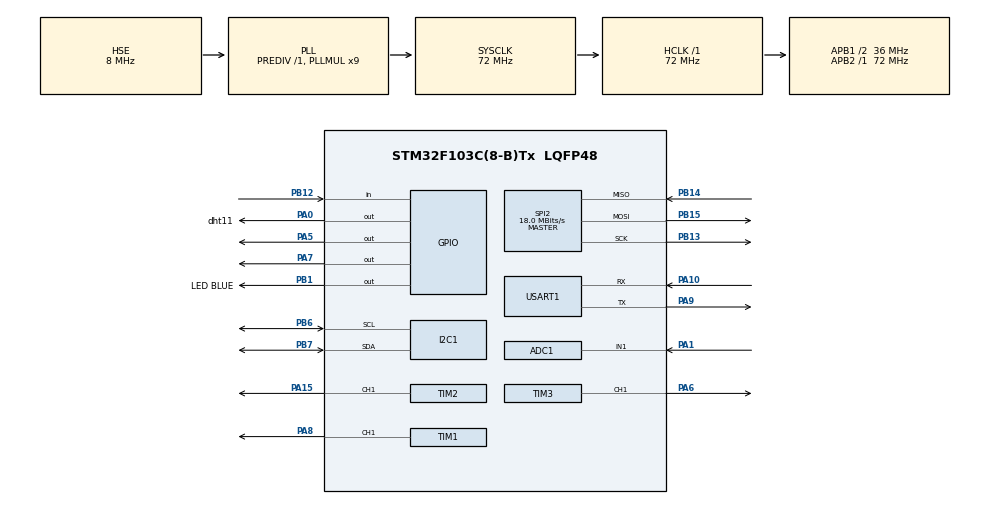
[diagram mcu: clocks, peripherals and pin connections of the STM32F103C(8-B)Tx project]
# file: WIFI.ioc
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ADC1.Channel-0\#ChannelRegularConversion=ADC_CHANNEL_1
ADC1.ContinuousConvMode=ENABLE
ADC1.NbrOfConversionFlag=1
ADC1.Rank-0\#ChannelRegularConversion=1
ADC1.SamplingTime-0\#ChannelRegularConversion=ADC_SAMPLETIME_1CYCLE_5
ADC1.master=1
I2C1.I2C_Mode=I2C_Fast
Mcu.Family=STM32F1
Mcu.Name=STM32F103C(8-B)Tx
Mcu.Package=LQFP48
NVIC.PriorityGroup=NVIC_PRIORITYGROUP_4
NVIC.TIM4_IRQn=true\:0\:0\:false\:false\:true\:true\:true
NVIC.USART1_IRQn=true\:0\:0\:false\:false\:true\:true\:true
PA0-WKUP.GPIO_Label=dht11
PA0-WKUP.Signal=GPIO_Output
PA1.Signal=ADCx_IN1
PA10.Mode=Asynchronous
PA10.Signal=USART1_RX
PA13.Mode=Serial_Wire
PA13.Signal=SYS_JTMS-SWDIO
PA14.Mode=Serial_Wire
PA14.Signal=SYS_JTCK-SWCLK
PA15.Signal=S_TIM2_CH1_ETR
PA5.Signal=GPIO_Output
PA6.Signal=S_TIM3_CH1
PA7.Signal=GPIO_Output
PA8.Signal=S_TIM1_CH1
PA9.Mode=Asynchronous
PA9.Signal=USART1_TX
PB1.GPIO_Label=LED BLUE
PB1.Signal=GPIO_Output
PB12.GPIO_PuPd=GPIO_PULLUP
PB12.Signal=GPIO_Input
PB13.Mode=Full_Duplex_Master
PB13.Signal=SPI2_SCK
PB14.Mode=Full_Duplex_Master
PB14.Signal=SPI2_MISO
PB15.Mode=Full_Duplex_Master
PB15.Signal=SPI2_MOSI
PB6.Mode=I2C
PB6.Signal=I2C1_SCL
PB7.Mode=I2C
PB7.Signal=I2C1_SDA
PD0-OSC_IN.Mode=HSE-External-Oscillator
PD0-OSC_IN.Signal=RCC_OSC_IN
PD1-OSC_OUT.Mode=HSE-External-Oscillator
PD1-OSC_OUT.Signal=RCC_OSC_OUT
ProjectManager.HeapSize=0x200
ProjectManager.StackSize=0x400
ProjectManager.TargetToolchain=MDK-ARM V5.27
RCC.ADCPresc=RCC_ADCPCLK2_DIV6
RCC.AHBFreq_Value=72000000
RCC.APB1CLKDivider=RCC_HCLK_DIV2
RCC.APB1Freq_Value=36000000
RCC.APB1TimFreq_Value=72000000
RCC.APB2Freq_Value=72000000
RCC.APB2TimFreq_Value=72000000
RCC.HCLKFreq_Value=72000000
RCC.PLLMUL=RCC_PLL_MUL9
RCC.PLLSourceVirtual=RCC_PLLSOURCE_HSE
RCC.SYSCLKFreq_VALUE=72000000
RCC.SYSCLKSource=RCC_SYSCLKSOURCE_PLLCLK
RCC.USBFreq_Value=72000000
SH.ADCx_IN1.0=ADC1_IN1,IN1
SH.S_TIM1_CH1.0=TIM1_CH1,PWM Generation1 CH1
SH.S_TIM2_CH1_ETR.0=TIM2_CH1,PWM Generation1 CH1
SH.S_TIM3_CH1.0=TIM3_CH1,PWM Generation1 CH1
SPI2.CalculateBaudRate=18.0 MBits/s
SPI2.Direction=SPI_DIRECTION_2LINES
SPI2.Mode=SPI_MODE_MASTER
SPI2.VirtualType=VM_MASTER
TIM1.Channel-PWM\ Generation1\ CH1=TIM_CHANNEL_1
TIM1.OCPolarity_1=TIM_OCPOLARITY_LOW
TIM1.Period=100-1
TIM1.Prescaler=72-1
TIM2.Channel-PWM\ Generation1\ CH1=TIM_CHANNEL_1
TIM2.Period=20000-1
TIM2.Prescaler=72-1
TIM3.Channel-PWM\ Generation1\ CH1=TIM_CHANNEL_1
TIM3.Period=100-1
TIM3.Prescaler=36
TIM4.Period=100-1
TIM4.Prescaler=7200-1
USART1.VirtualMode=VM_ASYNC
VP_TIM1_VS_ClockSourceINT.Mode=Internal
VP_TIM2_VS_ClockSourceINT.Mode=Internal
VP_TIM3_VS_ClockSourceINT.Mode=Internal
VP_TIM4_VS_ClockSourceINT.Mode=Internal
board=custom

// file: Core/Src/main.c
/* USER CODE BEGIN Header */
/**
  ******************************************************************************
  * @file           : main.c
  * @brief          : Main program body
  ******************************************************************************
  * @attention
  *
  * <h2><center>&copy; Copyright (c) 2025 STMicroelectronics.
  * All rights reserved.</center></h2>
  *
  * This software component is licensed by ST under BSD 3-Clause license,
  * the "License"; You may not use this file except in compliance with the
  * License. You may obtain a copy of the License at:
  *                        opensource.org/licenses/BSD-3-Clause
  *
  ******************************************************************************
  */
/* USER CODE END Header */
#include "main.h"
#include "adc.h"
#include "i2c.h"
#include "spi.h"
#include "tim.h"
#include "usart.h"
#include "gpio.h"

/* USER CODE BEGIN Includes */
#include <string.h>
#include "oled.h"
#include "font.h"
#include <stdio.h>
#include <stdlib.h>
#include "dht11.h"
#include "max7219.h"
#include "key.h"
#include "MPU6050.h"
/* USER CODE END Includes */

/* USER CODE BEGIN PD */
#define RX_BUFFER_SIZE 512
#define free_state 0
#define singlepress 1
#define doublepress 2
#define longpress 3
#define WEATHER_KEY "SkauKTjXsbUijiTkw"
#define WEATHER_CITY "beijing"
// OneNET 配置信息
#define ONENET_PID      "NW4ydVqKGU"       // 产品 ID
#define ONENET_DEVICE   "pro1"             // 设备名称
// 【注意】这里必须填计算出来的 Token (res=products/PID/devices/pro1)
#define ONENET_TOKEN    "version=2018-10-31&res=products%2FNW4ydVqKGU%2Fdevices%2Fpro1&et=..."

// OneNET 物模型上报 Topic (固定格式)
#define TOPIC_POST      "$sys/" ONENET_PID "/" ONENET_DEVICE "/thing/property/post"
/* USER CODE END PD */

/* USER CODE BEGIN PV */
char http_buffer[512]; // 存放 HTTP 请求报文
char len_cmd[64];      // 存放长度指令
char process_buff[RX_BUFFER_SIZE]; // 【新增】用于解析的备份缓冲区
char rxbuff[RX_BUFFER_SIZE];
char Txbuff[35];
char message[256];
char dht11message[256];
char adc[10];
char onenetsend[512];
uint8_t oledflag=0;
uint8_t txflag=0;
volatile uint8_t rxflag=0;
uint8_t sendflag=0;
uint8_t weathergetflag=0;
volatile uint8_t rx_index = 0;
volatile uint8_t new_data_available = 0;
char oled[50];
uint8_t temperature = 0;
uint8_t humidity = 0;
uint16_t speed=0;
uint8_t doubleflag;
uint8_t singleflag;
uint8_t longflag;
uint8_t keyscanflag;
uint8_t wificheckflag;
long pwmvalue;

char line2[] = "Host: api.seniverse.com\r\n";
char line3[] = "Connection: close\r\n";
char line4[] = "\r\n"; // 【关键】最后的空行
//MPU6050 MM;
/* USER CODE END PV */

void SystemClock_Config(void);
/* USER CODE BEGIN PFP */
void send_at_command(const char* cmd);
void Get_Temp(void);
uint8_t MQTTRec(char * data);
void Set_Servo_Angle(TIM_HandleTypeDef *htim, uint32_t Channel, uint8_t angle);
void MQTThandle(void);
void oledshow(char *text,uint8_t x,uint8_t y);
/* USER CODE END PFP */

int main(void)
{

  /* MCU Configuration--------------------------------------------------------*/

  /* Reset of all peripherals, Initializes the Flash interface and the Systick. */
  HAL_Init();

  /* Configure the system clock */
  SystemClock_Config();

  /* Initialize all configured peripherals */
  MX_GPIO_Init();
  MX_USART1_UART_Init();
  MX_I2C1_Init();
  MX_TIM1_Init();
  MX_TIM3_Init();
  MX_TIM2_Init();
  MX_TIM4_Init();
  MX_ADC1_Init();
  MX_SPI2_Init();
  /* USER CODE BEGIN 2 */
  /*
    send_at_command("AT+RST");
	HAL_Delay (1000);
	*/

	SSD1306_Init();
	SSD1306_Clear();
	oledshow("ok",0,20);
	HAL_GPIO_WritePin(LED_BLUE_GPIO_Port,LED_BLUE_Pin,GPIO_PIN_SET);
	HAL_GPIO_WritePin(GPIOA, GPIO_PIN_5, GPIO_PIN_RESET); // servo IN1
    HAL_GPIO_WritePin(GPIOA, GPIO_PIN_7, GPIO_PIN_RESET); // servo IN2
	/* //mqtt init
	HAL_Delay (1000);
	send_at_command("AT+CWJAP=\"Xiaomi_D44B\",\"2271902787Ab\"");
	HAL_Delay (4000);
    send_at_command("AT+MQTTUSERCFG=0,1,\"mqttx_1631101c\",\"123\",\"123\",0,0,\"\"\r\n");
	HAL_Delay (2000);
	send_at_command("AT+MQTTCONN=0,\"broker.emqx.io\",1883,1\r\n");
	HAL_Delay (2000);
	send_at_command("AT+MQTTSUB=0,\"command\",0\r\n");
	HAL_Delay (1000);
	*/

	//onenet init
	HAL_Delay (1000);
	send_at_command("AT+CWJAP=\"Neo8\",\"2271902787\"");
	//send_at_command("AT+CWJAP=\"Xiaomi_D44B\",\"2271902787Ab\"");
	//HAL_Delay (4000);
//send_at_command("AT+CIPSTART=\"TCP\",\"api.seniverse.com\",80");
    HAL_Delay(2000);

	DHT11_Init();
	//陀螺仪初始化
	//MPU6050_init(&hi2c2);
	//点阵初始化
	//MAX7219_Init();

/*点阵

uint8_t smiley_pattern[] = {
    0x00,
    0x66,
    0x99,
    0x18,
    0x18,
    0x81,
    0x7E,
    0x00
};

	MAX7219_DisplayPattern(smiley_pattern);
	*/
	HAL_TIM_PWM_Start(&htim2, TIM_CHANNEL_1);
	HAL_TIM_PWM_Start(&htim3, TIM_CHANNEL_1);
	HAL_TIM_PWM_Start(&htim1, TIM_CHANNEL_1);
	//HAL_TIM_Base_Start(&htim4);
	HAL_UART_Receive_IT(&huart1, (uint8_t*)&rxbuff[0], 1);

	HAL_TIM_Base_Start_IT(&htim4);
	__HAL_TIM_SET_COMPARE(&htim1, TIM_CHANNEL_1,0);
	//HAL_ADC_Start(&hadc1);
	//HAL_TIM_Encoder_Start(&htim4,TIM_CHANNEL_ALL);

  /* USER CODE END 2 */

  /* Infinite loop */
  /* USER CODE BEGIN WHILE */
  while (1)
  {
	  /*陀螺仪
	  MPU6050_Get_Angle(&MM);
	  printf("pitch:%.2f\r\n",MM.pitch);
	  printf("roll:%.2f\r\n",MM.roll);
	  printf("yaw:%.2f\r\n",MM.yaw);
	  printf("%d\r\n",speed);
	  HAL_Delay(1000);
	  */
		if(keyscanflag==1){
			keyscanflag=0;
			Keyscan();
		}
		if(singleflag==1){
			singleflag=0;
			//HAL_GPIO_WritePin(LED_BLUE_GPIO_Port,LED_BLUE_Pin,GPIO_PIN_RESET);
		}else if(doubleflag==1){
			doubleflag=0;
			//HAL_GPIO_WritePin(LED_BLUE_GPIO_Port,LED_BLUE_Pin,GPIO_PIN_SET);
		}
	  //onenet mess handle

	/*//红外
	if (HAL_GPIO_ReadPin(red_ray_GPIO_Port, red_ray_Pin) == GPIO_PIN_RESET)
    {
       HAL_GPIO_WritePin(LED_BLUE_GPIO_Port,LED_BLUE_Pin,GPIO_PIN_RESET);
    }
    else
    {
        HAL_GPIO_WritePin(LED_BLUE_GPIO_Port,LED_BLUE_Pin,GPIO_PIN_SET);
    }
	  */
	if(rxflag==1)
    {
        // 1. 【核心修复】立刻备份数据！防止被中断里的新数据覆盖
        // 这一步极快，比 printf 快得多
        strcpy(process_buff, rxbuff);

        // 2. 立刻清除标志位，允许中断继续接收新数据，互不干扰
        rxflag = 0;

        // 3. 接下来所有的操作都针对 process_buff 进行
        char *p;
        char temp_str[10] = {0};
        char weather_str[20] = {0};

        // --- 提取温度 ---
        // 注意：这里改成 process_buff
        p = strstr(process_buff, "\"temperature\":\"");
        if (p != NULL)
        {
            p += 15;
            int i = 0;
            while (*p != '\"' && i < 5)
            {
                temp_str[i++] = *p++;
            }
            // 确保字符串结束符
            temp_str[i] = '\0';
            //printf("解析温度: %s\r\n", temp_str);
        }

        // --- 提取天气现象 ---
        // 注意：这里也改成 process_buff
        p = strstr(process_buff, "\"text\"");

        if (p != NULL)
        {
            p += 6;
            while (*p != ':' && *p != '\0') p++;
            while (*p != '\"' && *p != '\0') p++;

            if (*p == '\"')
            {
                p++;
                int i = 0;
                while (*p != '\"' && *p != '\0' && i < 19)
                {
                    weather_str[i++] = *p++;
                }
                weather_str[i] = '\0'; // 加上结束符

                //printf("解析天气: %s\r\n", weather_str);

                // 如果需要显示到 OLED
                // oledshow(weather_str);
            }
				sprintf(message,"temp:%s",temp_str);
				oledshow(message,0,0);
				sprintf(message,"wth:%s",weather_str);
				oledshow(message,0,20);
        }
        else
        {
             // 如果还是找不到，打印出来看看现在的 buffer 到底是个啥
             // printf("未找到天气, Buffer内容: %s\r\n", process_buff);
        }
    }

	if(weathergetflag==1){
		sendflag=0;
		HAL_UART_Transmit(&huart1, (uint8_t*)"AT+MQTTCLEAN=0\r\n", 16, 100);
		HAL_Delay(1000);
		send_at_command("AT+CIPSTART=\"TCP\",\"api.seniverse.com\",80");
		HAL_Delay(500);
	// 1. 先连接 (必须确认连接成功)
    // 这一步建议加上返回值判断，如果没有 CONNECT，后面发啥都没用
		//HAL_Delay(2000);
    HAL_UART_Transmit(&huart1, (uint8_t*)"AT+CIPSTART=\"TCP\",\"api.seniverse.com\",80\r\n", 42, 100);
    HAL_Delay(1000); // 给足时间连接

   // 既然手动发是 134，我们要保证这里算出来也是 134 (或者由代码自动算准)
    int total_len = strlen(http_buffer) + strlen(line2) + strlen(line3) + strlen(line4);

    // --- 3. 发送长度指令 ---
    // 你的手动操作: AT+CIPSEND=134
    sprintf(http_buffer, "AT+CIPSEND=%d\r\n", total_len);
    HAL_UART_Transmit(&huart1, (uint8_t*)http_buffer, strlen(http_buffer), 100);

		memset(http_buffer, 0, sizeof(http_buffer));
		 sprintf(http_buffer,
                "GET /v3/weather/now.json?key=%s&location=%s&language=en HTTP/1.1\r\n",
                WEATHER_KEY,
                WEATHER_CITY);
    // --- 4. 等待 ">" 符号 ---
    // 你的手动操作: 等待 > 出现
    HAL_Delay(500);

    // --- 5. 分段发送数据 (模仿你的手动点击) ---

    // 第1行: GET ... (点发送)
    HAL_UART_Transmit(&huart1, (uint8_t*)http_buffer, strlen(http_buffer), 1000);
    HAL_Delay(50); // 稍微停顿一下，模拟人的手速（可选，但更稳）

    // 第2行: Host: ... (点发送)
    HAL_UART_Transmit(&huart1, (uint8_t*)line2, strlen(line2), 1000);
    HAL_Delay(50);

    // 第3行: Connection: close (点发送)
    HAL_UART_Transmit(&huart1, (uint8_t*)line3, strlen(line3), 1000);
    HAL_Delay(50);

    // 第4行: 空行 (点发送)
    HAL_UART_Transmit(&huart1, (uint8_t*)line4, strlen(line4), 1000);

	//HAL_Delay(2000);
		weathergetflag=0;

	}

	if(sendflag){
		if(!weathergetflag){
			HAL_UART_Transmit(&huart1, (uint8_t*)"AT+CIPCLOSE\r\n", 13, 100);
			 HAL_Delay(500);
		}

		Get_Temp();

		sendflag=0;
		char cmd_buff[256];
    char json_buff[256];
		// 1. 强制断开之前的连接 (无论是 HTTP 还是 MQTT，先断为敬)
    // 防止 ESP8266 报 "ALREADY CONNECTED" 错误

		// 格式: AT+MQTTUSERCFG=0,1,"设备名","产品ID","Token",0,0,""
    memset(cmd_buff, 0, sizeof(cmd_buff));
    send_at_command("AT+MQTTUSERCFG=0,1,\"pro1\",\"NW4ydVqKGU\",\"version=2018-10-31&res=products%2FNW4ydVqKGU%2Fdevices%2Fpro1&et=2541412770&method=md5&sign=2vCMFmP%2FtvBfhgw8YwXQDg%3D%3D\",0,0,\"\"\r\n");
    HAL_Delay(500);
	send_at_command("AT+MQTTCONN=0,\"mqtts.heclouds.com\",1883,1\r\n");
    // 3. 连接 OneNET MQTT 服务器

    HAL_Delay(1000); // 连接需要时间，必须延时！
		send_at_command("AT+MQTTSUB=0,\"$sys/NW4ydVqKGU/pro1/thing/property/post/reply\",0\r\n");

    // 4. 构造物模型 JSON 数据
    // 假设 OneNET 平台上有 identifier 为 "temperature" 和 "humidity" 的属性
    memset(json_buff, 0, sizeof(json_buff));
	  HAL_Delay(1000);
   send_at_command("AT+MQTTSUB=0,\"$sys/NW4ydVqKGU/pro1/thing/property/set\",0\r\n");
HAL_Delay(1000);
    // 5. 发布数据
    // 格式: AT+MQTTPUB=0,"Topic","Payload",0,0
    memset(cmd_buff, 0, sizeof(cmd_buff));
    snprintf(onenetsend,sizeof(onenetsend),"AT+MQTTPUB=0,\"$sys/NW4ydVqKGU/pro1/thing/property/post\",\"{\\\"id\\\":\\\"123\\\"\\,\\\"params\\\":{\\\"hum\\\":{\\\"value\\\":%d}\\,\\\"temp\\\":{\\\"value\\\":%d}}}\",0,0\r\n",humidity,temperature);
				send_at_command(onenetsend);
				HAL_Delay(1000);
	}

	  /* //红外adc
	uint16_t adc_value;
    HAL_ADC_PollForConversion(&hadc1, 50);
    if ((HAL_ADC_GetState(&hadc1) & HAL_ADC_STATE_REG_EOC) == HAL_ADC_STATE_REG_EOC)
    {
        adc_value = HAL_ADC_GetValue(&hadc1);
        sprintf(adc,"V: %d", adc_value);
		oledshow(adc);
    }
	if(adc_value<1000){
		Set_Servo_Angle(&htim2, TIM_CHANNEL_1, 45);  // 45掳
	}else Set_Servo_Angle(&htim2, TIM_CHANNEL_1, 90);  // 45掳
	HAL_Delay(500);
	 */
    /* USER CODE END WHILE */

  }
}

void SystemClock_Config(void)
{
  RCC_OscInitTypeDef RCC_OscInitStruct = {0};
  RCC_ClkInitTypeDef RCC_ClkInitStruct = {0};
  RCC_PeriphCLKInitTypeDef PeriphClkInit = {0};

  /** Initializes the RCC Oscillators according to the specified parameters
  * in the RCC_OscInitTypeDef structure.
  */
  RCC_OscInitStruct.OscillatorType = RCC_OSCILLATORTYPE_HSE;
  RCC_OscInitStruct.HSEState = RCC_HSE_ON;
  RCC_OscInitStruct.HSEPredivValue = RCC_HSE_PREDIV_DIV1;
  RCC_OscInitStruct.HSIState = RCC_HSI_ON;
  RCC_OscInitStruct.PLL.PLLState = RCC_PLL_ON;
  RCC_OscInitStruct.PLL.PLLSource = RCC_PLLSOURCE_HSE;
  RCC_OscInitStruct.PLL.PLLMUL = RCC_PLL_MUL9;
  if (HAL_RCC_OscConfig(&RCC_OscInitStruct) != HAL_OK)
  {
    Error_Handler();
  }
  /** Initializes the CPU, AHB and APB buses clocks
  */
  RCC_ClkInitStruct.ClockType = RCC_CLOCKTYPE_HCLK|RCC_CLOCKTYPE_SYSCLK
                              |RCC_CLOCKTYPE_PCLK1|RCC_CLOCKTYPE_PCLK2;
  RCC_ClkInitStruct.SYSCLKSource = RCC_SYSCLKSOURCE_PLLCLK;
  RCC_ClkInitStruct.AHBCLKDivider = RCC_SYSCLK_DIV1;
  RCC_ClkInitStruct.APB1CLKDivider = RCC_HCLK_DIV2;
  RCC_ClkInitStruct.APB2CLKDivider = RCC_HCLK_DIV1;

  if (HAL_RCC_ClockConfig(&RCC_ClkInitStruct, FLASH_LATENCY_2) != HAL_OK)
  {
    Error_Handler();
  }
  PeriphClkInit.PeriphClockSelection = RCC_PERIPHCLK_ADC;
  PeriphClkInit.AdcClockSelection = RCC_ADCPCLK2_DIV6;
  if (HAL_RCCEx_PeriphCLKConfig(&PeriphClkInit) != HAL_OK)
  {
    Error_Handler();
  }
}

/* USER CODE BEGIN 4 */

int fputc(int ch,FILE *f)
{
	HAL_UART_Transmit(&huart1, (uint8_t*)&ch, 1, 100);
	return ch;
}

void Set_Servo_Angle(TIM_HandleTypeDef *htim, uint32_t Channel, uint8_t angle)
{
    uint16_t pulse_width = 500 + (angle/ 180.0) * 2000;
    __HAL_TIM_SET_COMPARE(htim, Channel, pulse_width);
    HAL_Delay(15);
}

uint8_t MQTTRec(char * data)
{
	 if (strstr(rxbuff, "+MQTTSUBRECV:") != NULL && strstr(rxbuff, data) != NULL)
	 {
		return 1;
	 }else return 0;
}

void oledshow(char *text,uint8_t x,uint8_t y)
{

	SSD1306_GotoXY(x, y);
	SSD1306_Puts(text, &Font_11x18, 1);
	SSD1306_UpdateScreen();
}

void MQTThandle(void)
{

	if(MQTTRec(",on")){
		HAL_GPIO_WritePin(LED_BLUE_GPIO_Port,LED_BLUE_Pin,GPIO_PIN_RESET);

	}else if(MQTTRec(",off")){
		HAL_GPIO_WritePin(LED_BLUE_GPIO_Port,LED_BLUE_Pin,GPIO_PIN_SET);

	}else if(MQTTRec(",0")){

		Set_Servo_Angle(&htim2, TIM_CHANNEL_1, 0);  // 0

	}else if(MQTTRec(",45")){
		speed-=360;
		 HAL_GPIO_WritePin(GPIOA, GPIO_PIN_5, GPIO_PIN_SET);
		HAL_GPIO_WritePin(GPIOA, GPIO_PIN_7, GPIO_PIN_RESET);
		__HAL_TIM_SET_COMPARE(&htim3, TIM_CHANNEL_1,speed);
		Set_Servo_Angle(&htim2, TIM_CHANNEL_1, 45);  // 45

	}else if(MQTTRec(",90")){
		Set_Servo_Angle(&htim2, TIM_CHANNEL_1, 90);  // 90

	}else if(MQTTRec(",180")){
		Set_Servo_Angle(&htim2, TIM_CHANNEL_1, 180);  // 180

	}else if(MQTTRec(",i")){
		speed+=360;
		HAL_GPIO_WritePin(GPIOA, GPIO_PIN_5, GPIO_PIN_SET);
		HAL_GPIO_WritePin(GPIOA, GPIO_PIN_7, GPIO_PIN_RESET);
		__HAL_TIM_SET_COMPARE(&htim3, TIM_CHANNEL_1,speed);
		sprintf(oled,"speed:%d",speed);

	}else if(MQTTRec(",d")){
		speed=speed-360;
		HAL_GPIO_WritePin(GPIOA, GPIO_PIN_5, GPIO_PIN_SET);
		HAL_GPIO_WritePin(GPIOA, GPIO_PIN_7, GPIO_PIN_RESET);
		__HAL_TIM_SET_COMPARE(&htim3, TIM_CHANNEL_1,speed);
		sprintf(oled,"speed:%d",speed);

	}

}

void HAL_UART_RxCpltCallback(UART_HandleTypeDef *huart)
{
	if (huart->Instance == USART1)
	{

        static char received_char;
        static char temp_buff[512];
        static uint16_t temp_index = 0;
        received_char = rxbuff[0];
        if (received_char == '\n')
		{
            if (temp_index > 0)
			{
                temp_buff[temp_index] = '\0';
                strcpy(rxbuff, temp_buff);

                rxflag = 1;
                memset(temp_buff, 0, sizeof(temp_buff));
                temp_index = 0;
            }
        }
        else if (received_char != '\r')
		{
            if (temp_index < sizeof(temp_buff) - 1)
			{
                temp_buff[temp_index++] = received_char;
            }
            else
			{
                memset(temp_buff, 0, sizeof(temp_buff));
                temp_index = 0;
            }
        }

        HAL_UART_Receive_IT(huart, (uint8_t*)&rxbuff[0], 1);
    }
}

void HAL_TIM_PeriodElapsedCallback(TIM_HandleTypeDef *htim)
{

	if (htim->Instance == TIM4)
	{
		static uint32_t keycount = 0;
		static uint32_t weathersendcount = 0;
		static uint32_t dht11sendcount = 0;
		if(++keycount >= 1)
		{  // 每10ms扫描一次按键
		  keycount = 0;
		  keyscanflag=1;
		}
		// 5秒定时
		if(++weathersendcount >= 6000)
		{
		  weathersendcount = 0;
		  weathergetflag = 1;  // 触发数据发送
		}
		if(++dht11sendcount >= 500){
			dht11sendcount=0;
			sendflag=1;
		}
	}
}

void send_at_command(const char* cmd)
{
    HAL_UART_Transmit(&huart1, (uint8_t*)cmd, strlen(cmd), 100);
    HAL_UART_Transmit(&huart1, (uint8_t*)"\r\n", 2, 100);
}
void Get_Temp(void)
{
	DHT11_Data_TypeDef DHT11_Data;
	if(DHT11_Read_TempAndHumidity(&DHT11_Data)==SUCCESS)
	{
		temperature = DHT11_Data.temperature;
		humidity = DHT11_Data.humidity;
	}
	else
	{

	}
}
/* USER CODE END 4 */

void Error_Handler(void)
{
  __disable_irq();
  while (1)
  {
  }
}

/************************ (C) COPYRIGHT STMicroelectronics *****END OF FILE****/
